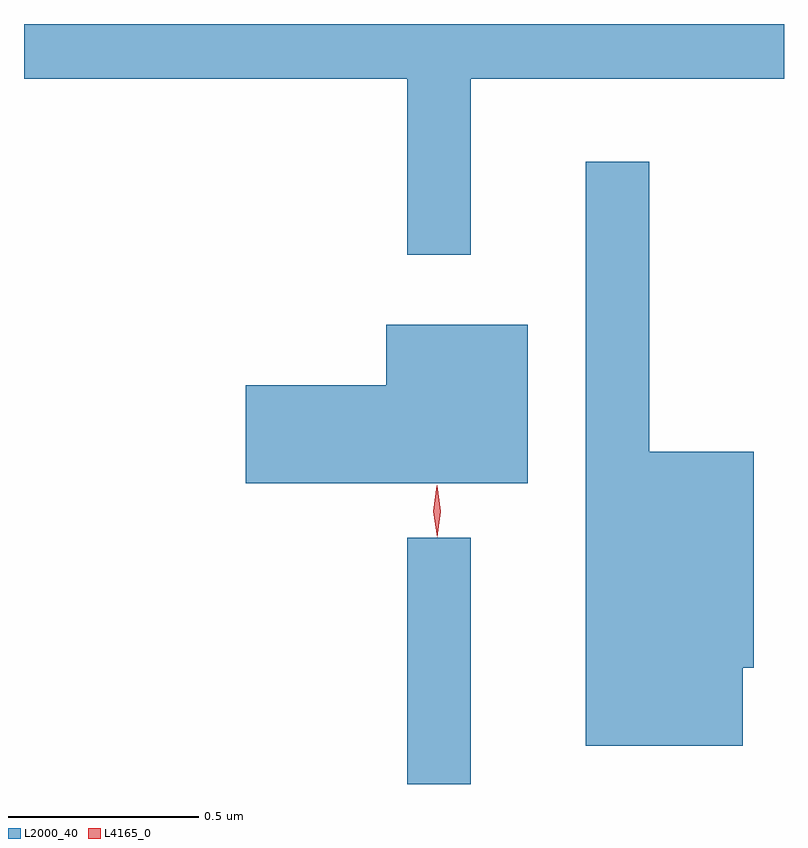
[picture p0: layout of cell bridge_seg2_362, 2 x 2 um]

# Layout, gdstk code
import gdstk
lib = gdstk.Library(unit=1e-6, precision=1e-09)
def R(c, l, rs):  # rectangles x0, y0, x1, y1
    for r in rs: c.add(gdstk.rectangle(r[:2], r[2:], *l))
def P(c, l, *ps):  # polygons
    for p in ps: c.add(gdstk.Polygon(p, *l))
L2000_40 = (2000, 40)
L4165_0 = (4165, 0)

bridge_seg2_362 = lib.new_cell('bridge_seg2_362')
R(bridge_seg2_362, L2000_40, [(312.291,1008.72,312.459,1009.368)])
P(bridge_seg2_362, L2000_40, [(312.459,1010.576),(313.283,1010.576),(313.283,1010.72),(311.283,1010.72),(311.283,1010.576),(312.291,1010.576),(312.291,1010.113),(312.459,1010.113)],
  [(313.174,1009.026),(313.204,1009.026),(313.204,1009.594),(312.929,1009.594),(312.929,1010.358),(312.761,1010.358),(312.761,1008.821),(313.174,1008.821)],
  [(312.609,1009.929),(312.236,1009.929),(312.236,1009.769),(311.866,1009.769),(311.866,1009.511),(312.609,1009.511)])
P(bridge_seg2_362, L4165_0, [(312.37,1009.37),(312.37,1009.37),(312.36,1009.438),(312.369,1009.505),(312.37,1009.506),(312.37,1009.505),(312.38,1009.438),(312.371,1009.37)],
  [(312.37,1009.373),(312.37,1009.373),(312.36,1009.436),(312.369,1009.499),(312.369,1009.5),(312.37,1009.499),(312.38,1009.436),(312.371,1009.373)])

lib.write_gds('bridge_seg2_362.gds')
